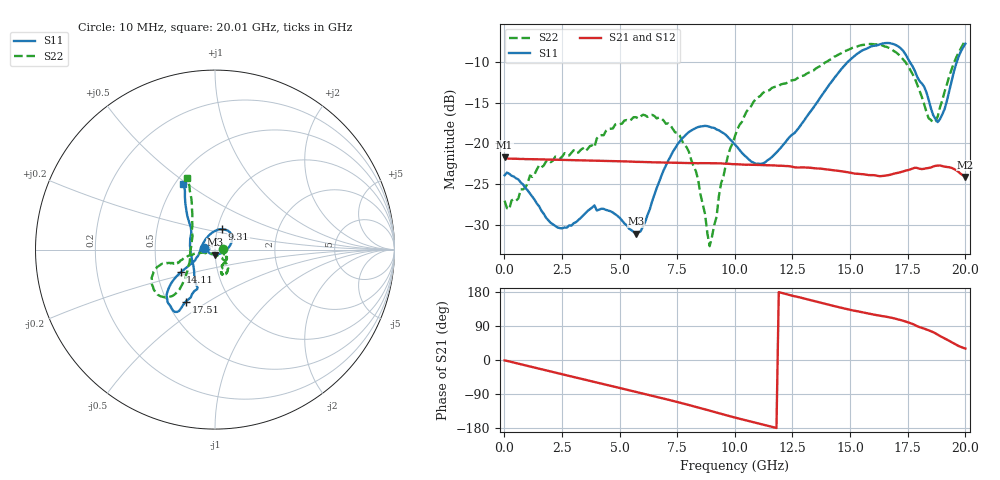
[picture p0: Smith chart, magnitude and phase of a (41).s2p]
! Hittite Microwave Corporation
! 2 Elizabeth Drive
! Chelmsford, MA 01824
! http://www.hittite.com
! Tel: 978-250-3343
! Fax: 978-250-3373
! Device:  HMC424LP3
! Description: 0.5 dB GaAs MMIC 6-Bit Digital Attenuator
! Frequency:  DC -  13.00 GHz
! Package:  LP3  - 3x3 mm Quad Flatpack No-Lead (QFN) Plastic Package: 16 pin
! Ports:  2 RF, 7 DC
!  Pad  1  = Ground
!  Pad  2  = RF IN  = Port1
!  Pad  3  = Ground
!  Pad  4  = V6
!  Pad  5  = V5
!  Pad  6  = V4
!  Pad  7  = V3
!  Pad  8  = V2
!  Pad  9  = V1
!  Pad 10  = Ground
!  Pad 11  = RF IN  = Port1
!  Pad 12  = Ground
!  Pad 15  = VEE
! Control:  -5 Volt control voltage
! State:  39
! Attenuation:  19.5 dB
! Voltages:  Vdd = -5.00 Volts  Idd =  -2.523 mA
!  V1  = -5.00 Volts  I1  =  -1.0 uA
!  V2  = -5.00 Volts  I2  =  -1.0 uA
!  V3  = -5.00 Volts  I3  =  -1.0 uA
!  V4  = 0.00 Volts  I4  =  30.0 uA
!  V5  = 0.00 Volts  I5  =  29.0 uA
!  V6  = -5.00 Volts  I6  =  -1.0 uA
! Data:  The device was measured on evaluation board 105354-1.
!  Data was collected using a calibrated network analyzer.
!  The evaluation circuit board was modeled and simulated.  This was use
!  to removed the evaluation board circuit from the measured data.
!  The reference plane is the edge of the package pin.
! Misc:  Lot xxxx, Unit 1
!  Application 20120001, Data collected in Application 20090083
! Date Measured:  2009-09-15
! Date:  2012-05-14  MJV
! Note:
!  Hittite supplies this data as a sample of measured data at the package pin
!  for this product.  Your particular data for this product may vary.
!  Data was taken at 25 degrees C.
!  Hittite reserves the right to change this data at anytime.
# GHz S MA R 50
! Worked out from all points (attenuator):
!   201 points, 10 MHz to 20.01 GHz, reference 50 ohm
!   highest |S21| = -21.75 dB at 10 MHz (marker M1); lowest = -24.2 dB at 20.01 GHz (marker M2)
!   lowest |S11| = -31.1 dB at 5.71 GHz (marker M3), VSWR 1.06, Z = 50 - j2.77 ohm
!   |S11| at or under -10 dB: start of sweep to 14.91 GHz; 17.6 GHz to 19.64 GHz (2.041 GHz wide, 11 % of centre)
!   |S22| runs from -32.7 to -7.4 dB; largest |S21 - S12| = 0.0013
!   S11 on the Smith chart (normalised r, x): 10 MHz: 0.88, +0.02; 9.31 GHz: 1.05, +0.24; 14.11 GHz: 0.66, -0.18; 17.51 GHz: 0.62, -0.40; 20.01 GHz: 0.55, +0.48
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0.01  0.06349 171.3  0.08175 -1.1  0.08041 -1.1  0.04431 7.0
0.21  0.06482 179.3  0.08036 -3.6  0.08037 -3.7  0.0392 -7.8
1.51  0.04089 179.9  0.07955 -23.0  0.07948 -23.0  0.0731 -29.6
2.31  0.0303 169.1  0.07915 -34.7  0.07899 -34.7  0.08201 -35.7
3.41  0.03582 169.6  0.07844 -50.7  0.07838 -50.7  0.0931 -54.1
3.91  0.04141 179.5  0.07812 -57.9  0.07805 -57.9  0.0945 -66.3
5.71  0.02775 -89.2  0.07678 -84.0  0.07668 -84.0  0.1446 -72.0
6.71  0.05745 -6.7  0.07617 -98.6  0.07605 -98.7  0.1438 -63.2
8.01  0.1172 35.4  0.07548 -118.8  0.07537 -118.8  0.0885 -48.4
8.41  0.1257 45.5  0.07528 -125.3  0.07518 -125.3  0.05968 -49.1
8.91  0.1261 59.1  0.07534 -133.6  0.07523 -133.7  0.02327 -102.1
9.31  0.12 70.8  0.07531 -140.5  0.07519 -140.5  0.04719 -160.5
10.01  0.09804 96.4  0.07433 -151.9  0.07428 -151.9  0.1107 -168.6
11.31  0.07612 168.9  0.07331 -171.7  0.07319 -171.8  0.2081 -161.4
13.41  0.1652 -148.7  0.07027 156.2  0.07005 156.1  0.2795 -164.6
14.11  0.2298 -146.5  0.06874 145.3  0.0686 145.3  0.3248 -163.9
15.41  0.3627 -137.6  0.0647 127.6  0.06463 127.5  0.3979 -152.4
16.71  0.4129 -122.8  0.06378 112.7  0.06361 112.7  0.3845 -136.0
17.51  0.3325 -119.3  0.06831 99.5  0.06822 99.6  0.2988 -131.7
18.41  0.1861 -128.3  0.0704 78.2  0.07023 78.3  0.1425 -165.1
18.81  0.1348 -171.3  0.07286 66.8  0.07273 66.7  0.1463 149.0
20.01  0.409 116.0  0.062 30.1  0.06202 30.0  0.4284 111.3
